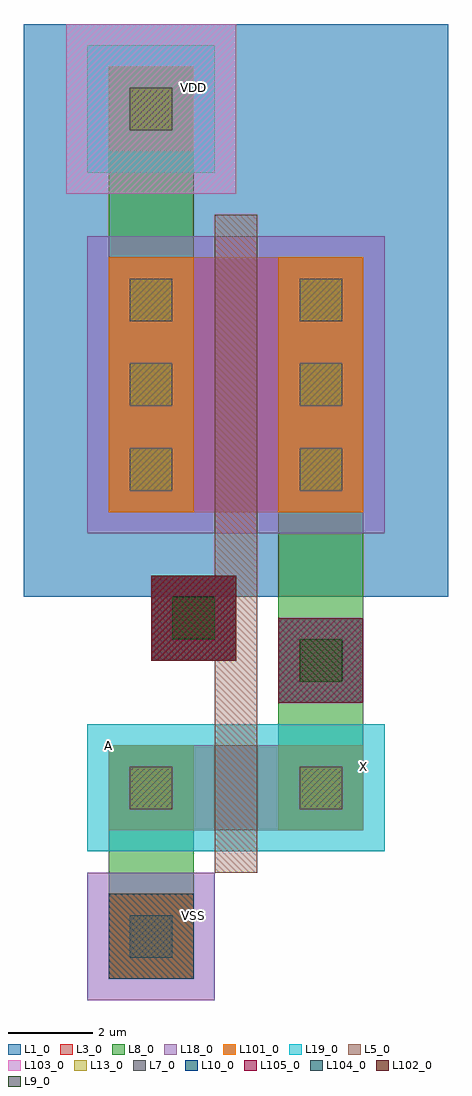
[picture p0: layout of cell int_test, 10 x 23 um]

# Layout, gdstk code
import gdstk
lib = gdstk.Library(unit=1e-6, precision=1e-09)
def R(c, l, rs):  # rectangles x0, y0, x1, y1
    for r in rs: c.add(gdstk.rectangle(r[:2], r[2:], *l))
L1_0 = (1, 0)
L3_0 = (3, 0)
L5_0 = (5, 0)
L7_0 = (7, 0)
L8_0 = (8, 0)
L9_0 = (9, 0)
L10_0 = (10, 0)
L13_0 = (13, 0)
L18_0 = (18, 0)
L19_0 = (19, 0)
L101_0 = (101, 0)
L102_0 = (102, 0)
L103_0 = (103, 0)
L104_0 = (104, 0)
L105_0 = (105, 0)

dcont = lib.new_cell('dcont')
R(dcont, L3_0, [(-1,-1,1,1)])
R(dcont, L7_0, [(-0.5,-0.5,0.5,0.5)])
R(dcont, L8_0, [(-1,-1,1,1)])
R(dcont, L13_0, [(-0.5,-0.5,0.5,0.5)])
R(dcont, L101_0, [(-1,-1,1,1)])
dcont.add(gdstk.Label('dcont', (0,0), layer=13, texttype=0))

nsubcont = lib.new_cell('nsubcont')
R(nsubcont, L1_0, [(-2,-2,2,2)])
R(nsubcont, L19_0, [(-1.5,-1.5,1.5,1.5)])
R(nsubcont, L103_0, [(-2,-2,2,2)])
nsubcont.add(gdstk.Reference(dcont, (0,0)))
nsubcont.add(gdstk.Label('NScont', (0,0), layer=13, texttype=0))

psubcont = lib.new_cell('psubcont')
R(psubcont, L18_0, [(-1.5,-1.5,1.5,1.5)])
R(psubcont, L104_0, [(-1,-1,1,1)])
psubcont.add(gdstk.Reference(dcont, (0,0)))
psubcont.add(gdstk.Label('PScon', (0,0), layer=13, texttype=0))

via = lib.new_cell('Via')
R(via, L8_0, [(-1,-1,1,1)])
R(via, L9_0, [(-0.5,-0.5,0.5,0.5)])
R(via, L10_0, [(-1,-1,1,1)])
R(via, L13_0, [(-0.5,-0.5,0.5,0.5)])
R(via, L105_0, [(-1,-1,1,1)])
via.add(gdstk.Label('via', (0,0), layer=13, texttype=0))

pcont = lib.new_cell('pcont')
R(pcont, L5_0, [(-1,-1,1,1)])
R(pcont, L7_0, [(-0.5,-0.5,0.5,0.5)])
R(pcont, L8_0, [(-1,-1,1,1)])
R(pcont, L13_0, [(-0.5,-0.5,0.5,0.5)])
R(pcont, L102_0, [(-1,-1,1,1)])
pcont.add(gdstk.Label('pcont', (0,0), layer=13, texttype=0))

int_test = lib.new_cell('int_test')
R(int_test, L1_0, [(-6.5,-3.5,3.5,10)])
R(int_test, L3_0, [(-4.5,-9,1.5,-7), (-4.5,-1.5,1.5,4.5)])
R(int_test, L8_0, [(-4.5,-10.5,-2.5,-9), (-0.5,-7,1.5,-6), (-0.5,-4,1.5,-1.5), (-4.5,4.5,-2.5,7)])
R(int_test, L18_0, [(-5,-2,2,5)])
R(int_test, L19_0, [(-5,-9.5,2,-6.5)])
int_test.add(gdstk.FlexPath([(-1.5,5.5),(-1.5,-2.5)], 1, ends="flush", simple_path=True, layer=5, datatype=0))  # L5_0
int_test.add(gdstk.FlexPath([(-1.5,-6),(-1.5,-10),(-1.5,-10)], 1, ends="flush", simple_path=True, layer=5, datatype=0))  # L5_0
int_test.add(gdstk.FlexPath([(-1.5,-2.5),(-1.5,-6),(-1.5,-6)], 1, ends="flush", simple_path=True, layer=5, datatype=0))  # L5_0
int_test.add(gdstk.Reference(nsubcont, (-3.5,8)))
int_test.add(gdstk.Reference(dcont, (-3.5,3.5)))
int_test.add(gdstk.Reference(dcont, (-3.5,1.5)))
int_test.add(gdstk.Reference(dcont, (-3.5,-0.5)))
int_test.add(gdstk.Reference(dcont, (0.5,3.5)))
int_test.add(gdstk.Reference(dcont, (0.5,1.5)))
int_test.add(gdstk.Reference(dcont, (0.5,-0.5)))
int_test.add(gdstk.Reference(dcont, (-3.5,-8)))
int_test.add(gdstk.Reference(dcont, (0.5,-8)))
int_test.add(gdstk.Reference(psubcont, (-3.5,-11.5)))
int_test.add(gdstk.Reference(via, (-2.5,-4)))
int_test.add(gdstk.Reference(via, (0.5,-5)))
int_test.add(gdstk.Reference(pcont, (-2.5,-4)))
int_test.add(gdstk.Label('VDD', (-2.5,8.5), layer=8, texttype=0))
int_test.add(gdstk.Label('VSS', (-2.5,-11), layer=8, texttype=0))
int_test.add(gdstk.Label('A', (-4.5,-7), layer=10, texttype=0))
int_test.add(gdstk.Label('X', (1.5,-7.5), layer=10, texttype=0))

lib.write_gds('int_test.gds')
